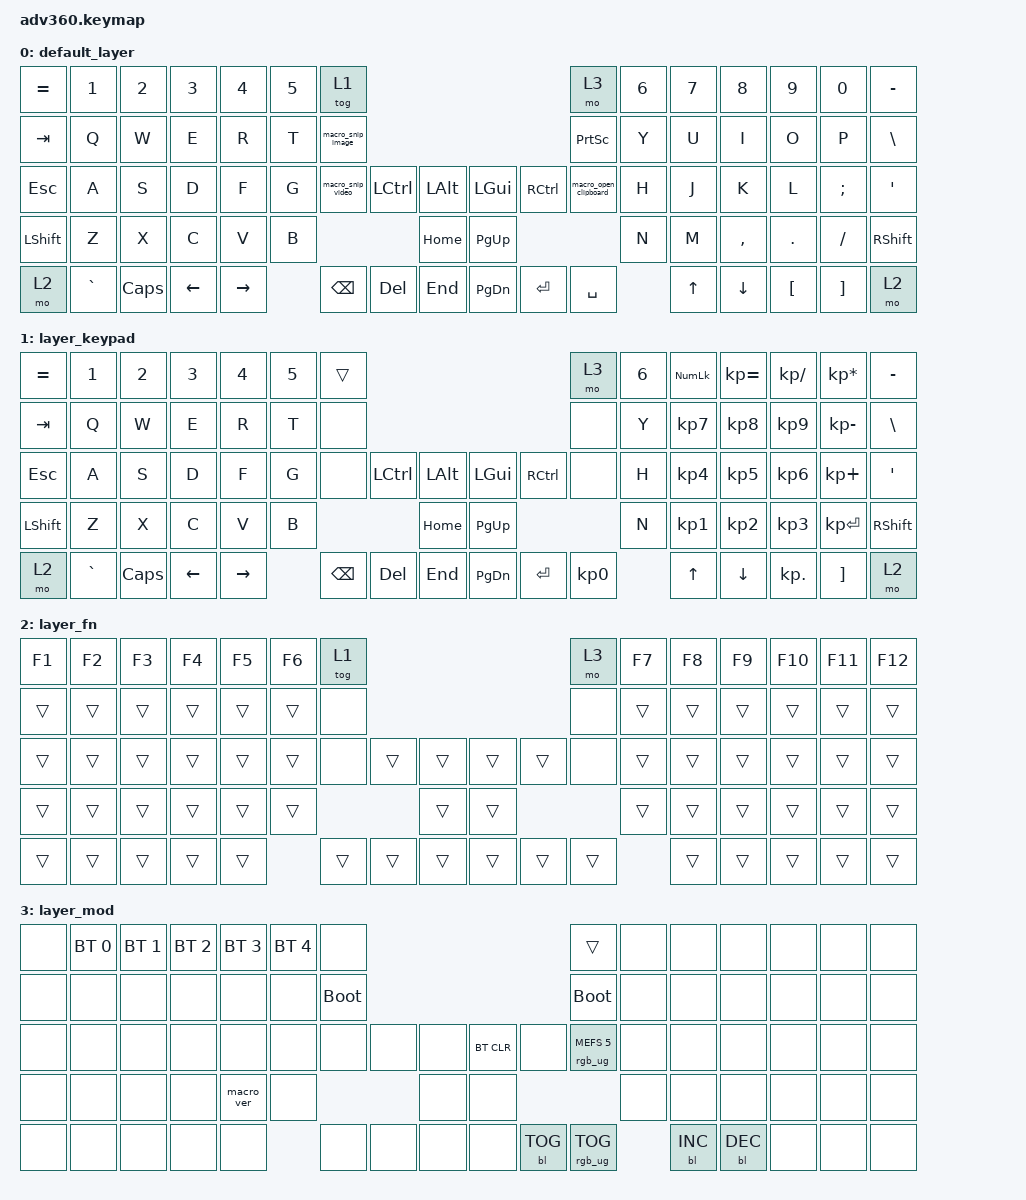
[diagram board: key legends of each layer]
/*
 * Copyright (c) 2020 The ZMK Contributors
 *
 * SPDX-License-Identifier: MIT
 */
/* THIS FILE WAS GENERATED!
 *
 * This file was generated automatically. You may or may not want to
 * edit it directly.
 */

#include <behaviors.dtsi>
#include <dt-bindings/zmk/backlight.h>
#include <dt-bindings/zmk/bt.h>
#include <dt-bindings/zmk/keys.h>
#include <dt-bindings/zmk/rgb.h>

/ {
    behaviors {
        #include "macros.dtsi"
    #include "version.dtsi"

        hm: homerow_mods {
            compatible = "zmk,behavior-hold-tap";
            label = "HOMEROW_MODS";
            #binding-cells = <2>;
            tapping-term-ms = <200>;
            quick_tap_ms = <175>;
            flavor = "tap-preferred";
            bindings = <&kp>, <&kp>;
        };
    };

    macros {
        macro_snip_image: macro_snip_image {
            compatible = "zmk,behavior-macro";
            #binding-cells = <0>;
            bindings =
                <&macro_press>,
                <&kp LGUI &kp LEFT_SHIFT>,
                <&macro_tap>,
                <&kp S>,
                <&macro_release>,
                <&kp LEFT_SHIFT &kp LGUI>;

            label = "MACRO_SNIP_IMAGE";
        };

        macro_snip_video: macro_snip_video {
            compatible = "zmk,behavior-macro";
            #binding-cells = <0>;
            bindings =
                <&macro_press>,
                <&kp LGUI &kp LEFT_SHIFT>,
                <&macro_tap>,
                <&kp R>,
                <&macro_release>,
                <&kp LEFT_SHIFT &kp LGUI>;

            label = "MACRO_SNIP_VIDEO";
        };

        macro_open_clipboard: macro_open_clipboard {
            compatible = "zmk,behavior-macro";
            #binding-cells = <0>;
            bindings =
                <&macro_press>,
                <&kp LGUI>,
                <&macro_tap>,
                <&kp V>,
                <&macro_release>,
                <&kp LGUI>;

            label = "MACRO_OPEN_CLIPBOARD";
        };
    };

    keymap {
        compatible = "zmk,keymap";

        default_layer {
            bindings = <
&kp EQUAL  &kp N1     &kp N2    &kp N3    &kp N4     &kp N5  &tog 1                                                            &mo 3                  &kp N6  &kp N7  &kp N8     &kp N9    &kp N0    &kp MINUS
&kp TAB    &kp Q      &kp W     &kp E     &kp R      &kp T   &macro_snip_image                                                 &kp PRINTSCREEN        &kp Y   &kp U   &kp I      &kp O     &kp P     &kp BSLH
&kp ESC    &kp A      &kp S     &kp D     &kp F      &kp G   &macro_snip_video  &kp LCTRL  &kp LALT      &kp LGUI   &kp RCTRL  &macro_open_clipboard  &kp H   &kp J   &kp K      &kp L     &kp SEMI  &kp SQT
&kp LSHFT  &kp Z      &kp X     &kp C     &kp V      &kp B                                 &kp HOME      &kp PG_UP                                    &kp N   &kp M   &kp COMMA  &kp DOT   &kp FSLH  &kp RSHFT
&mo 2      &kp GRAVE  &kp CAPS  &kp LEFT  &kp RIGHT          &kp BSPC           &kp DEL    &kp END       &kp PG_DN  &kp ENTER  &kp SPACE                      &kp UP  &kp DOWN   &kp LBKT  &kp RBKT  &mo 2
            >;
        };

        layer_keypad {
            bindings = <
&kp EQUAL  &kp N1     &kp N2    &kp N3    &kp N4     &kp N5  &trans                                                   &mo 3      &kp N6  &kp KP_NUM  &kp KP_EQUAL  &kp KP_DIVIDE  &kp KP_MULTIPLY  &kp MINUS
&kp TAB    &kp Q      &kp W     &kp E     &kp R      &kp T   &none                                                    &none      &kp Y   &kp KP_N7   &kp KP_N8     &kp KP_N9      &kp KP_MINUS     &kp BSLH
&kp ESC    &kp A      &kp S     &kp D     &kp F      &kp G   &none     &kp LCTRL  &kp LALT      &kp LGUI   &kp RCTRL  &none      &kp H   &kp KP_N4   &kp KP_N5     &kp KP_N6      &kp KP_PLUS      &kp SQT
&kp LSHFT  &kp Z      &kp X     &kp C     &kp V      &kp B                        &kp HOME      &kp PG_UP                        &kp N   &kp KP_N1   &kp KP_N2     &kp KP_N3      &kp KP_ENTER     &kp RSHFT
&mo 2      &kp GRAVE  &kp CAPS  &kp LEFT  &kp RIGHT          &kp BSPC  &kp DEL    &kp END       &kp PG_DN  &kp ENTER  &kp KP_N0          &kp UP      &kp DOWN      &kp KP_DOT     &kp RBKT         &mo 2
            >;
        };

        layer_fn {
            bindings = <
&kp F1  &kp F2  &kp F3  &kp F4  &kp F5  &kp F6  &tog 1                                      &mo 3   &kp F7  &kp F8  &kp F9  &kp F10  &kp F11  &kp F12
&trans  &trans  &trans  &trans  &trans  &trans  &none                                       &none   &trans  &trans  &trans  &trans   &trans   &trans
&trans  &trans  &trans  &trans  &trans  &trans  &none   &trans  &trans      &trans  &trans  &none   &trans  &trans  &trans  &trans   &trans   &trans
&trans  &trans  &trans  &trans  &trans  &trans                  &trans      &trans                  &trans  &trans  &trans  &trans   &trans   &trans
&trans  &trans  &trans  &trans  &trans          &trans  &trans  &trans      &trans  &trans  &trans          &trans  &trans  &trans   &trans   &trans
            >;
        };

        layer_mod {
            bindings = <
&none  &bt BT_SEL 0  &bt BT_SEL 1  &bt BT_SEL 2  &bt BT_SEL 3  &bt BT_SEL 4  &none                                                  &trans                  &none  &none       &none       &none  &none  &none
&none  &none         &none         &none         &none         &none         &bootloader                                            &bootloader             &none  &none       &none       &none  &none  &none
&none  &none         &none         &none         &none         &none         &none        &none  &none      &bt BT_CLR  &none       &rgb_ug RGB_MEFS_CMD 5  &none  &none       &none       &none  &none  &none
&none  &none         &none         &none         &macro_ver    &none                             &none      &none                                           &none  &none       &none       &none  &none  &none
&none  &none         &none         &none         &none                       &none        &none  &none      &none       &bl BL_TOG  &rgb_ug RGB_TOG                &bl BL_INC  &bl BL_DEC  &none  &none  &none
            >;
        };
    };
};
